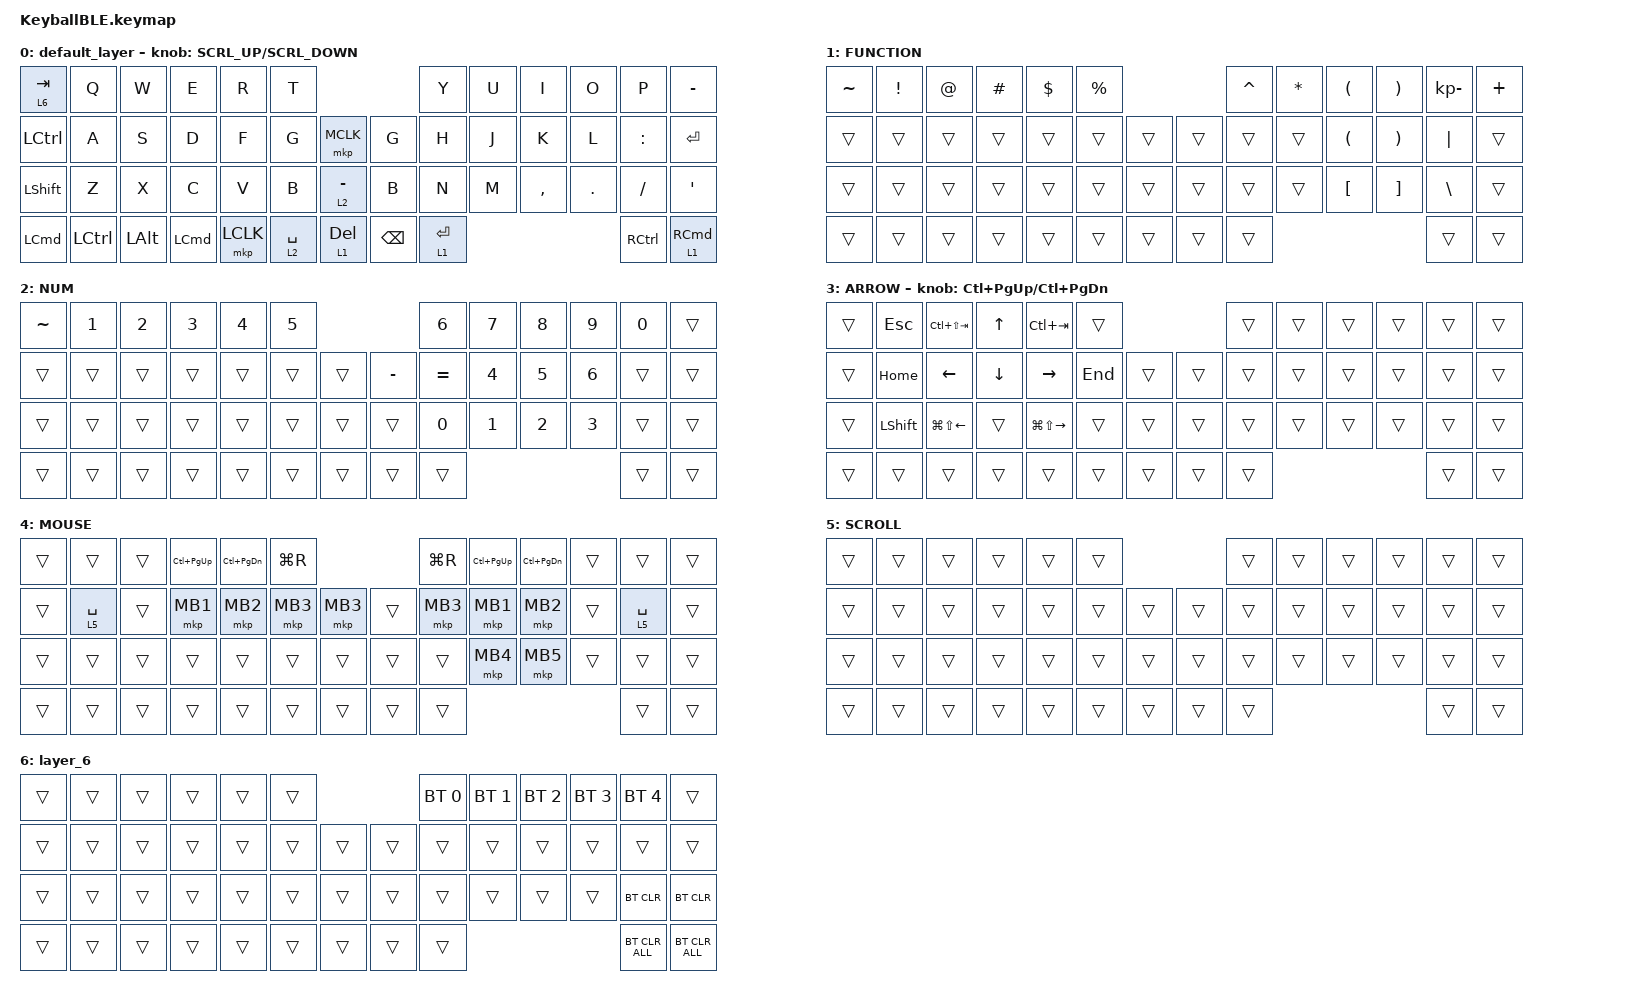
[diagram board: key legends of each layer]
#define ZMK_POINTING_DEFAULT_SCRL_VAL 120    // default: 10

#include <behaviors.dtsi>
#include <dt-bindings/zmk/bt.h>
#include <dt-bindings/zmk/keys.h>
#include <dt-bindings/zmk/pointing.h>

#define MOUSE 4
#define SCROLL 5
#define NUM 6

&mt {
    flavor = "balanced";
    quick-tap-ms = <0>;
};

/ {
    combos {
        compatible = "zmk,combos";

        LCLKjk {
            bindings = <&mkp LCLK>;
            key-positions = <22 21>;
        };

        RCLKkl {
            bindings = <&mkp RCLK>;
            key-positions = <22 23>;
        };

        ESC3 {
            bindings = <&kp ESCAPE>;
            key-positions = <0 1 2>;
        };

        F3CV {
            bindings = <&kp F3>;
            key-positions = <30 29>;
        };
    };

    macros {
        to_layer_0: to_layer_0 {
            compatible = "zmk,behavior-macro-one-param";
            #binding-cells = <1>;
            bindings = <&to 0 &macro_param_1to1 &kp MACRO_PLACEHOLDER>;
            label = "TO_LAYER_0";
        };
    };

    behaviors {
        lt_to_layer_0: lt_to_layer_0 {
            compatible = "zmk,behavior-hold-tap";
            label = "LAYER_TAP_TO_0";
            bindings = <&mo>, <&to_layer_0>;

            #binding-cells = <2>;
            tapping-term-ms = <200>;
        };

        ROTATE: ROTATE {
            compatible = "zmk,behavior-sensor-rotate-var";
            label = "ROTATE";
            #sensor-binding-cells = <2>;
            bindings = <&msc>, <&msc>;

            tap-ms = <20>;
        };
    };

    keymap {
        compatible = "zmk,keymap";

        default_layer {
            bindings = <
&lt 6 TAB         &kp Q             &kp W     &kp E             &kp R      &kp T                                       &kp Y        &kp U  &kp I      &kp O    &kp P      &kp MINUS
&kp LCTRL         &kp A             &kp S     &kp D             &kp F      &kp G        &mkp MCLK       &kp G          &kp H        &kp J  &kp K      &kp L    &kp COLON  &kp ENTER
&kp LSHFT         &kp Z             &kp X     &kp C             &kp V      &kp B        &lt 2 MINUS     &kp B          &kp N        &kp M  &kp COMMA  &kp DOT  &kp SLASH  &kp SQT
&kp LEFT_COMMAND  &kp LEFT_CONTROL  &kp LALT  &kp LEFT_COMMAND  &mkp LCLK  &lt 2 SPACE  &lt 1 DELETE    &kp BACKSPACE  &lt 1 ENTER                             &kp RCTRL  &lt 1 RIGHT_COMMAND
            >;

            sensor-bindings = <&ROTATE SCRL_UP SCRL_DOWN>;
        };

        FUNCTION {
            bindings = <
&kp TILDE  &kp EXCLAMATION  &kp AT_SIGN  &kp HASH  &kp DOLLAR  &kp PERCENT                    &kp CARET  &kp ASTERISK  &kp LEFT_PARENTHESIS  &kp RIGHT_PARENTHESIS  &kp KP_MINUS   &kp PLUS
&trans     &trans           &trans       &trans    &trans      &trans       &trans    &trans  &trans     &trans        &kp LEFT_PARENTHESIS  &kp RIGHT_PARENTHESIS  &kp PIPE       &trans
&trans     &trans           &trans       &trans    &trans      &trans       &trans    &trans  &trans     &trans        &kp LEFT_BRACKET      &kp RIGHT_BRACKET      &kp BACKSLASH  &trans
&trans     &trans           &trans       &trans    &trans      &trans       &trans    &trans  &trans                                                                &trans         &trans
            >;
        };

        NUM {
            bindings = <
&kp TILDE  &kp NUMBER_1  &kp NUMBER_2  &kp NUMBER_3  &kp NUMBER_4  &kp NUMBER_5                       &kp NUMBER_6  &kp NUMBER_7  &kp NUMBER_8  &kp NUMBER_9  &kp NUMBER_0  &trans
&trans     &trans        &trans        &trans        &trans        &trans        &trans    &kp MINUS  &kp EQUAL     &kp NUMBER_4  &kp N5        &kp NUMBER_6  &trans        &trans
&trans     &trans        &trans        &trans        &trans        &trans        &trans    &trans     &kp N0        &kp NUMBER_1  &kp NUMBER_2  &kp NUMBER_3  &trans        &trans
&trans     &trans        &trans        &trans        &trans        &trans        &trans    &trans     &trans                                                  &trans        &trans
            >;
        };

        ARROW {
            bindings = <
&trans  &kp ESCAPE      &kp LC(LS(TAB))         &kp UP_ARROW    &kp LC(TAB)              &trans                     &trans  &trans  &trans  &trans  &trans  &trans
&trans  &kp HOME        &kp LEFT_ARROW          &kp DOWN_ARROW  &kp RIGHT_ARROW          &kp END  &trans    &trans  &trans  &trans  &trans  &trans  &trans  &trans
&trans  &kp LEFT_SHIFT  &kp LG(LS(LEFT_ARROW))  &trans          &kp LG(LS(RIGHT_ARROW))  &trans   &trans    &trans  &trans  &trans  &trans  &trans  &trans  &trans
&trans  &trans          &trans                  &trans          &trans                   &trans   &trans    &trans  &trans                          &trans  &trans
            >;

            sensor-bindings = <&inc_dec_kp LC(PAGE_UP) LC(PAGE_DOWN)>;
        };

        MOUSE {
            bindings = <
&trans  &trans       &trans  &kp LC(PAGE_UP)  &kp LC(PAGE_DOWN)  &kp LG(R)                      &kp LG(R)  &kp LC(PAGE_UP)  &kp LC(PAGE_DOWN)  &trans  &trans       &trans
&trans  &lt 5 SPACE  &trans  &mkp MB1         &mkp MB2           &mkp MB3   &mkp MB3    &trans  &mkp MB3   &mkp MB1         &mkp MB2           &trans  &lt 5 SPACE  &trans
&trans  &trans       &trans  &trans           &trans             &trans     &trans      &trans  &trans     &mkp MB4         &mkp MB5           &trans  &trans       &trans
&trans  &trans       &trans  &trans           &trans             &trans     &trans      &trans  &trans                                                 &trans       &trans
            >;
        };

        SCROLL {
            bindings = <
&trans  &trans  &trans  &trans  &trans  &trans                    &trans  &trans  &trans  &trans  &trans  &trans
&trans  &trans  &trans  &trans  &trans  &trans  &trans    &trans  &trans  &trans  &trans  &trans  &trans  &trans
&trans  &trans  &trans  &trans  &trans  &trans  &trans    &trans  &trans  &trans  &trans  &trans  &trans  &trans
&trans  &trans  &trans  &trans  &trans  &trans  &trans    &trans  &trans                          &trans  &trans
            >;
        };

        layer_6 {
            bindings = <
&trans  &trans  &trans  &trans  &trans  &trans                    &bt BT_SEL 0  &bt BT_SEL 1  &bt BT_SEL 2  &bt BT_SEL 3  &bt BT_SEL 4    &trans
&trans  &trans  &trans  &trans  &trans  &trans  &trans    &trans  &trans        &trans        &trans        &trans        &trans          &trans
&trans  &trans  &trans  &trans  &trans  &trans  &trans    &trans  &trans        &trans        &trans        &trans        &bt BT_CLR      &bt BT_CLR
&trans  &trans  &trans  &trans  &trans  &trans  &trans    &trans  &trans                                                  &bt BT_CLR_ALL  &bt BT_CLR_ALL
            >;
        };
    };
};
